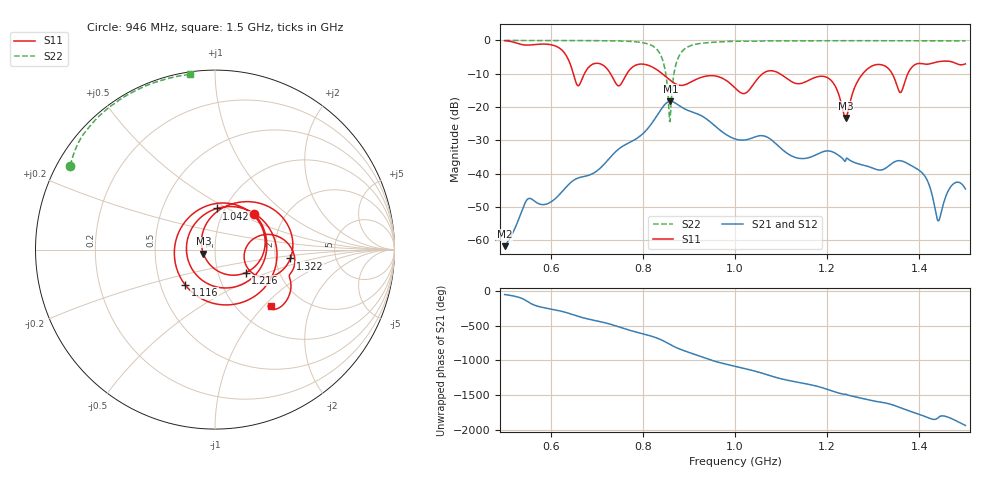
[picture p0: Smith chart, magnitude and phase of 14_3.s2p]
! TOUCHSTONE file generated by CST MICROWAVE STUDIO
! Date and time: Fri Dec 11 13:55:29 2020
! Project name: Scenario_1_Planar_Body_Tissue_Out_of_Line_v2.cst
! Parameters = {dy1=-121.1; L_HA=400; Ltissue=700; MT=2.54; Rad_Dielectric=30; Rad_Lower=7.3; Rad_Upper=30; Wtissue=700; a_HA=580; a_WG=246; b_HA=500; b_WG=121; c_HA=0; c_WG=187; d_feed=85; dx1=520; h_feed=15; h_lower=18; h_upper=40; hfat=3; hgap=25; hmuscle=50; hskin=1.5}
! Header version: 2018
! Port assignment regex: !\s*Touchstone port\s*([0-9]+)\s*=\s*(CST MWS port|CST DS port)\s*([0-9]+|Zmin|Zmax)\s*\(\"(.*)\"\)(\s*mode\s*([0-9]+))?.*
! Touchstone port assignment:
! Touchstone port 1 = CST MWS port 1 ("")
! Touchstone port 2 = CST MWS port 2 ("")
# GHz S DB R 50
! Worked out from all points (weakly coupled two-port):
!   1003 points, 500 MHz to 1.5 GHz, reference 50 ohm
!   highest |S21| = -18.31 dB at 860 MHz (marker M1); lowest = -61.8 dB at 500 MHz (marker M2)
!   lowest |S11| = -23.3 dB at 1.24 GHz (marker M3), VSWR 1.15, Z = 43.9 - j2.07 ohm
!   |S11| at or under -10 dB: 729.9 MHz to 765.3 MHz (35.47 MHz wide, 4.74 % of centre); 842.1 MHz to 1.06 GHz (217.9 MHz wide, 22.9 % of centre); 1.097 GHz to 1.277 GHz (180 MHz wide, 15.2 % of centre) (the widest 3 of 5)
!   |S22| runs from -24.4 to 0.0 dB; largest |S21 - S12| = 0.00014
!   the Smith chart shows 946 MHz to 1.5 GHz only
!   S11 on the Smith chart (normalised r, x): 946 MHz: 1.40, +0.62; 1.042 GHz: 0.92, +0.44; 1.116 GHz: 0.67, -0.28; 1.216 GHz: 1.36, -0.36; 1.322 GHz: 2.42, -0.29; 1.5 GHz: 1.41, -1.10
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0.5  -0.08 -121.9  -61.83 -51.8  -61.83 -51.8  -0.01 151.2
0.55  -1.40 -143.7  -47.69 -153.8  -47.69 -153.8  -0.01 147.8
0.63  -3.78 147.3  -44.63 56.2  -44.63 56.2  -0.03 141.7
0.667  -11.97 175.4  -41.05 -20.0  -41.05 -20.0  -0.04 138.4
0.742  -13.02 8.0  -33.30 -144.0  -33.30 -144.0  -0.14 129.0
0.787  -7.31 164.7  -29.44 125.8  -29.44 125.8  -0.44 118.1
0.834  -9.15 46.0  -21.88 33.4  -21.88 33.4  -3.28 84.7
0.86  -12.04 -28.6  -18.31 -53.3  -18.31 -53.3  -21.96 -93.4
0.882  -13.51 -103.3  -19.86 -121.4  -19.86 -121.4  -3.89 -173.7
0.946  -10.58 42.8  -24.45 89.1  -24.45 89.1  -0.61 149.9
1  -14.27 -103.0  -29.60 -3.3  -29.60 -3.3  -0.25 140.4
1.042  -12.79 87.5  -29.06 -71.5  -29.06 -71.5  -0.18 135.3
1.074  -9.13 -12.4  -29.39 -134.5  -29.39 -134.5  -0.14 132.1
1.116  -11.79 -130.0  -34.18 152.4  -34.18 152.4  -0.11 128.4
1.167  -11.51 77.6  -34.90 86.6  -34.90 86.6  -0.11 124.3
1.216  -13.38 -36.7  -33.77 -10.2  -33.77 -10.3  -0.08 120.5
1.24  -23.31 -159.9  -36.15 -45.1  -36.13 -44.7  -0.09 118.6
1.322  -7.48 -6.7  -38.75 -166.3  -38.75 -166.3  -0.08 112.5
1.334  -8.61 -21.7  -37.67 177.0  -37.67 177.0  -0.08 111.6
1.407  -7.02 -15.8  -39.91 7.7  -39.91 7.7  -0.10 105.9
1.441  -6.41 -28.3  -54.23 -22.4  -54.23 -22.4  -0.10 103.1
1.5  -7.05 -45.0  -44.64 -135.0  -44.64 -135.0  -0.13 98.0
